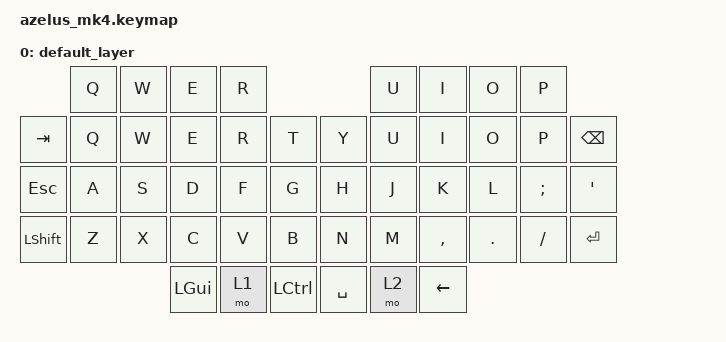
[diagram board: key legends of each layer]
/*
 * ZMK lokal bauen:
 *   cd github/zmk/app
 *   west build -b nice_nano_v2 -- -DSHIELD=azelus_mk4
 *   cp build/zephyr/zmk.uf2 /media/.../NICENANO/
 */

#include <behaviors.dtsi>
#include <dt-bindings/zmk/keys.h>
#include <dt-bindings/zmk/bt.h>

/ {
    keymap0: keymap {
        compatible = "zmk,keymap";

        default_layer {
            bindings = <
                          &kp Q    &kp W    &kp E    &kp R                          &kp U  &kp I     &kp O    &kp P                           
                &kp TAB   &kp Q    &kp W    &kp E    &kp R  &kp T         &kp Y     &kp U  &kp I     &kp O    &kp P     &kp BSPC
                &kp ESC   &kp A    &kp S    &kp D    &kp F  &kp G         &kp H     &kp J  &kp K     &kp L    &kp SEMI  &kp SQT
                &kp LSHFT &kp Z    &kp X    &kp C    &kp V  &kp B         &kp N     &kp M  &kp COMMA &kp DOT  &kp SLASH &kp RET
                                            &kp LGUI &mo 1  &kp LCTL      &kp SPACE &mo 2  &kp LEFT 
            >;
        };
    };
};
